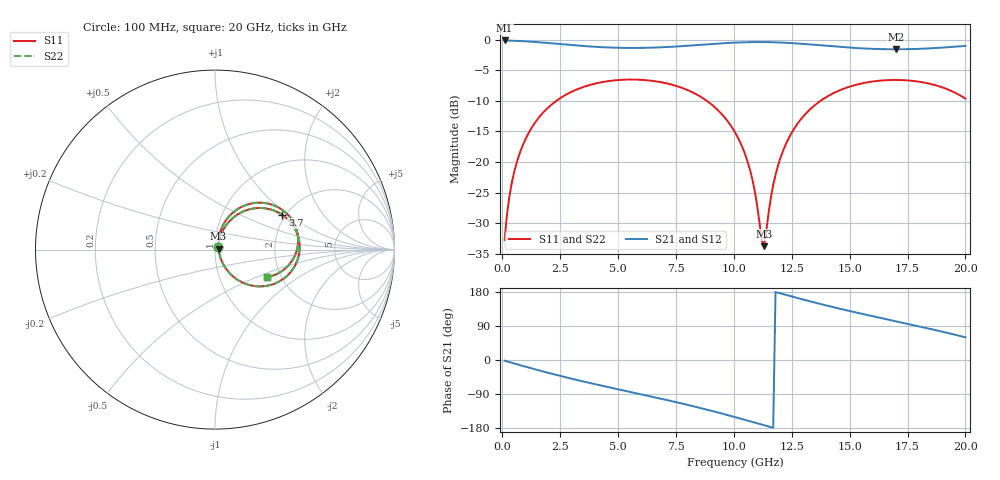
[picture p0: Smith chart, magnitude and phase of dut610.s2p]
! Touchstone file exported from HFSS 2026.1.0
!  File:  C:/ffzhzh/LocalFiles/Ansys_Project_Files/temp_train_TSV_RDL_610_1783123372_35180.aedt
!  Generated:  08:15:19 AM Jul  4, 2026
!  Design:  TSV_RDL
!  Project:  temp_train_TSV_RDL_610_1783123372_35180
! Variables:
!  h_bsmrdl = 4.75um
!  h_ox = 20um
!  h_rdl = 5um
!  h_sub = 92.83um
!  h_tmrdl = 5.98um
!  h_tsv = 92.83um
!  h_via = 3um
!  l_bsmrdl = 759.9um
!  l_sub = 4973.14um
!  l_tmrdl = 541.71um
!  m_sub = 200um
!  pitch = 49.2um
!  r_tsv = 11.46um
!  s_tmrdl = 10um
!  w_bsmrdl = 26.25um
!  w_sub = 500um
!  w_tmrdl = 15.95um
!  x_tsv_center1 = 549.685um
!  x_tsv_center2 = 1335.835um
!  x_tsv_center3 = 1893.495um
!  x_tsv_center4 = 2679.645um
!  x_tsv_center5 = 3237.305um
!  x_tsv_center6 = 4023.455um
# GHz S MA R 50.000000
! Terminal data exported
! Port[1] = TM_RDL1_1_T1
! Port[2] = TM_RDL5_1_T1
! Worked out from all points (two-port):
!   200 points, 100 MHz to 20 GHz, reference 50 ohm
!   highest |S21| = -0.14 dB at 100 MHz (marker M1); lowest = -1.6 dB at 17 GHz (marker M2)
!   |S21| within 3 dB of the highest: start of sweep to end of sweep
!   lowest |S11| = -33.7 dB at 11.3 GHz (marker M3), VSWR 1.04, Z = 52 + j0.588 ohm
!   |S11| at or under -10 dB: start of sweep to 2.332 GHz; 8.834 GHz to 13.74 GHz (4.907 GHz wide, 43.5 % of centre)
!   |S22| runs from -33.7 to -6.5 dB; largest |S21 - S12| = 1.7e-14
!   S11 on the Smith chart (normalised r, x): 100 MHz: 1.03, +0.03; 3.7 GHz: 1.92, +0.90; 20 GHz: 1.70, -0.59
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0.1  0.0231 45.0  0.9841 -1.8  0.9841 -1.8  0.0231 45.0
! Gamma 0 0 0 0
! Port Impedance 50 0 50 0
0.3  0.05149 64.8  0.9814 -5.4  0.9814 -5.4  0.05149 64.8
0.5  0.08098 68.0  0.9786 -8.9  0.9786 -8.9  0.08098 68.0
1.1  0.1676 63.8  0.9658 -19.3  0.9658 -19.3  0.1676 63.8
2.1  0.292 49.9  0.9336 -35.7  0.9336 -35.7  0.292 49.9
3.5  0.4104 30.0  0.8865 -56.7  0.8865 -56.7  0.4104 30.0
3.7  0.422 27.3  0.8809 -59.5  0.8809 -59.5  0.422 27.3
5.3  0.4711 6.4  0.8553 -81.2  0.8553 -81.2  0.4711 6.4
6.8  0.451 -12.8  0.8641 -101.4  0.8641 -101.4  0.451 -12.8
8.8  0.3196 -39.9  0.9135 -130.4  0.9135 -130.4  0.3196 -39.9
10.1  0.1684 -57.1  0.9459 -151.5  0.9459 -151.5  0.1684 -57.1
10.7  0.08617 -60.3  0.9537 -161.7  0.9537 -161.7  0.08616 -60.3
11.3  0.0206 15.9  0.9547 -172.0  0.9547 -172.0  0.02059 15.9
11.6  0.05146 67.8  0.9524 -177.2  0.9524 -177.2  0.05145 67.8
12  0.1065 73.4  0.9468 176.0  0.9468 176.0  0.1065 73.4
12.6  0.1869 68.4  0.9334 166.0  0.9334 166.0  0.1869 68.4
13.4  0.2815 58.0  0.9094 153.1  0.9094 153.1  0.2815 57.9
14.9  0.4072 37.7  0.8629 130.7  0.8629 130.7  0.4072 37.6
16.7  0.4675 14.7  0.8341 106.1  0.8341 106.1  0.4675 14.6
17  0.4685 10.9  0.8335 102.1  0.8335 102.1  0.4685 10.9
18.5  0.4344 -8.0  0.8492 81.8  0.8492 81.8  0.4344 -8.1
20  0.3297 -27.8  0.8883 59.9  0.8883 59.9  0.3297 -27.8
